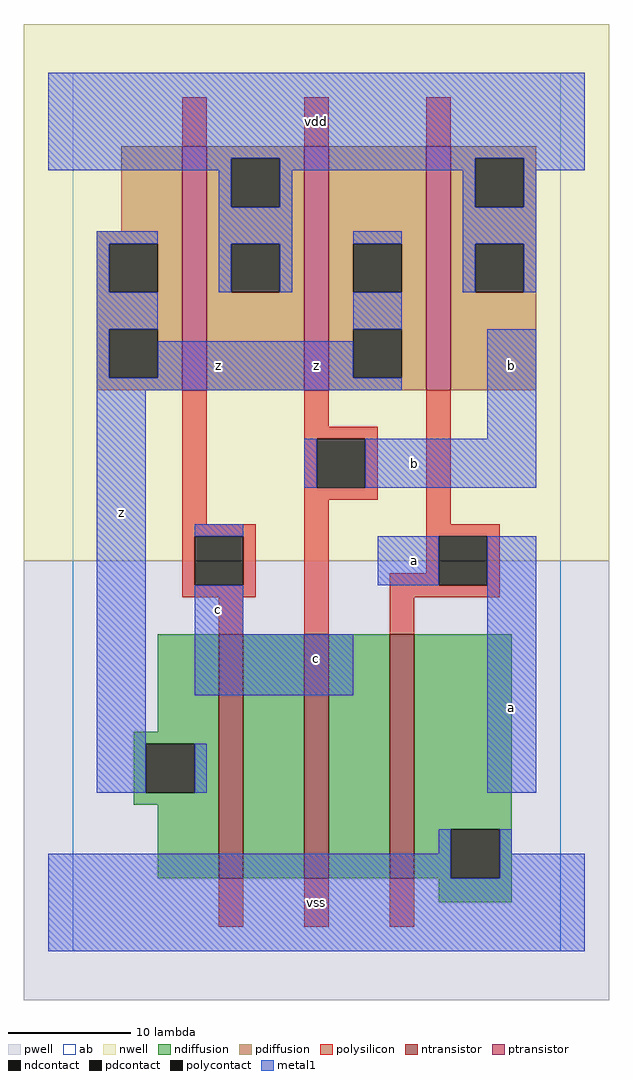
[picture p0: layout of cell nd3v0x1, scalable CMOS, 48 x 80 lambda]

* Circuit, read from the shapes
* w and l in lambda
.subckt nd3v0x1 a b c vdd vss z
M1 n1 c z VSUBS nfet w=20 l=2
M2 n2 b n1 VSUBS nfet w=20 l=2
M3 vss a n2 VSUBS nfet w=20 l=2
M4 vdd c z n3 pfet w=20 l=2
M5 z b vdd n3 pfet w=20 l=2
M6 vdd a z n3 pfet w=20 l=2
.ends

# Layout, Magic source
magic
tech scmos
<< ab >>
rect 0 0 40 72
<< pwell >>
rect -4 -4 44 32
<< nwell >>
rect -4 32 44 76
<< polysilicon >>
rect 9 66 11 70
rect 19 66 21 70
rect 29 66 31 70
rect 9 35 11 46
rect 19 43 21 46
rect 19 42 25 43
rect 19 38 20 42
rect 24 38 25 42
rect 19 37 25 38
rect 9 34 15 35
rect 9 30 10 34
rect 14 30 15 34
rect 9 29 15 30
rect 12 26 14 29
rect 19 26 21 37
rect 29 35 31 46
rect 29 34 35 35
rect 29 31 30 34
rect 26 30 30 31
rect 34 30 35 34
rect 26 29 35 30
rect 26 26 28 29
rect 12 2 14 6
rect 19 2 21 6
rect 26 2 28 6
<< ndiffusion >>
rect 7 18 12 26
rect 5 17 12 18
rect 5 13 6 17
rect 10 13 12 17
rect 5 12 12 13
rect 7 6 12 12
rect 14 6 19 26
rect 21 6 26 26
rect 28 10 36 26
rect 28 6 31 10
rect 35 6 36 10
rect 30 4 36 6
<< pdiffusion >>
rect 4 59 9 66
rect 2 58 9 59
rect 2 54 3 58
rect 7 54 9 58
rect 2 51 9 54
rect 2 47 3 51
rect 7 47 9 51
rect 2 46 9 47
rect 11 65 19 66
rect 11 61 13 65
rect 17 61 19 65
rect 11 58 19 61
rect 11 54 13 58
rect 17 54 19 58
rect 11 46 19 54
rect 21 58 29 66
rect 21 54 23 58
rect 27 54 29 58
rect 21 51 29 54
rect 21 47 23 51
rect 27 47 29 51
rect 21 46 29 47
rect 31 65 38 66
rect 31 61 33 65
rect 37 61 38 65
rect 31 58 38 61
rect 31 54 33 58
rect 37 54 38 58
rect 31 46 38 54
<< metal1 >>
rect -2 65 42 72
rect -2 64 13 65
rect 12 61 13 64
rect 17 64 33 65
rect 17 61 18 64
rect 2 58 7 59
rect 2 54 3 58
rect 12 58 18 61
rect 32 61 33 64
rect 37 64 42 65
rect 37 61 38 64
rect 12 54 13 58
rect 17 54 18 58
rect 23 58 27 59
rect 32 58 38 61
rect 32 54 33 58
rect 37 54 38 58
rect 2 51 7 54
rect 2 47 3 51
rect 23 51 27 54
rect 7 47 23 50
rect 2 46 27 47
rect 2 13 6 46
rect 34 42 38 51
rect 19 38 20 42
rect 24 38 38 42
rect 10 34 14 35
rect 25 30 30 34
rect 10 26 14 30
rect 10 21 23 26
rect 10 13 11 17
rect 34 13 38 34
rect 30 8 31 10
rect -2 6 31 8
rect 35 8 36 10
rect 35 6 42 8
rect -2 0 42 6
<< ntransistor >>
rect 12 6 14 26
rect 19 6 21 26
rect 26 6 28 26
<< ptransistor >>
rect 9 46 11 66
rect 19 46 21 66
rect 29 46 31 66
<< polycontact >>
rect 20 38 24 42
rect 10 30 14 34
rect 30 30 34 34
<< ndcontact >>
rect 6 13 10 17
rect 31 6 35 10
<< pdcontact >>
rect 3 54 7 58
rect 3 47 7 51
rect 13 61 17 65
rect 13 54 17 58
rect 23 54 27 58
rect 23 47 27 51
rect 33 61 37 65
rect 33 54 37 58
<< labels >>
rlabel metal1 4 36 4 36 6 z
rlabel metal1 12 28 12 28 6 c
rlabel metal1 12 48 12 48 6 z
rlabel metal1 20 4 20 4 6 vss
rlabel metal1 20 24 20 24 6 c
rlabel metal1 28 32 28 32 6 a
rlabel metal1 28 40 28 40 6 b
rlabel metal1 20 48 20 48 6 z
rlabel metal1 20 68 20 68 6 vdd
rlabel metal1 36 20 36 20 6 a
rlabel metal1 36 48 36 48 6 b
<< end >>
